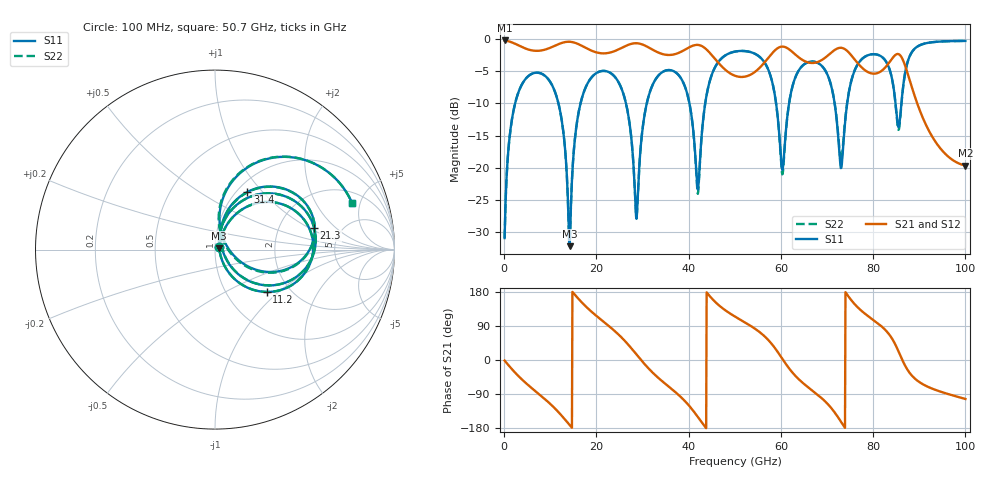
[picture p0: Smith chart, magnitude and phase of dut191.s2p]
! Touchstone file exported from HFSS 2026.1.0
!  File:  C:/ffzhzh/LocalFiles/Ansys_Project_Files/temp_test_TSV_RDL_191_1783478710_46308.aedt
!  Generated:  10:54:39 AM Jul  8, 2026
!  Design:  TSV_RDL
!  Project:  temp_test_TSV_RDL_191_1783478710_46308
! Variables:
!  h_bsmrdl = 2.48um
!  h_ox = 20um
!  h_rdl = 5um
!  h_sub = 62.75um
!  h_tmrdl = 3.57um
!  h_tsv = 62.75um
!  h_via = 3um
!  l_bsmrdl = 567.06um
!  l_sub = 4064.84um
!  l_tmrdl = 462.31um
!  m_sub = 200um
!  pitch = 50.83um
!  r_tsv = 12.92um
!  s_tmrdl = 10um
!  w_bsmrdl = 23.71um
!  w_sub = 500um
!  w_tmrdl = 14.43um
!  x_tsv_center1 = 469.525um
!  x_tsv_center2 = 1060.295um
!  x_tsv_center3 = 1537.035um
!  x_tsv_center4 = 2127.805um
!  x_tsv_center5 = 2604.545um
!  x_tsv_center6 = 3195.315um
# GHz S MA R 50.000000
! Terminal data exported
! Port[1] = TM_RDL1_1_T1
! Port[2] = TM_RDL5_1_T1
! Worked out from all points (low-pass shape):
!   1000 points, 100 MHz to 100 GHz, reference 50 ohm
!   highest |S21| = -0.21 dB at 100 MHz (marker M1); lowest = -19.7 dB at 100 GHz (marker M2)
!   |S21| within 3 dB of the highest: start of sweep to 45.87 GHz; 56.94 GHz to 64.6 GHz (7.665 GHz wide, 12.6 % of centre) (the widest 2 of 4)
!   lowest |S11| = -32.2 dB at 14.2 GHz (marker M3), VSWR 1.05, Z = 52.4 + j0.717 ohm
!   |S11| at or under -10 dB: 11.77 GHz to 16.56 GHz (4.788 GHz wide, 33.8 % of centre); 26.41 GHz to 30.92 GHz (4.51 GHz wide, 15.7 % of centre); 40.18 GHz to 43.59 GHz (3.412 GHz wide, 8.15 % of centre) (the widest 3 of 7)
!   |S22| runs from -32.2 to -0.3 dB; largest |S21 - S12| = 2.4e-13
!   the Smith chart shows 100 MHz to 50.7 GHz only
!   S11 on the Smith chart (normalised r, x): 100 MHz: 1.05, +0.03; 11.2 GHz: 1.53, -0.84; 21.3 GHz: 3.16, +1.13; 31.4 GHz: 1.11, +0.83; 50.7 GHz: 2.84, +4.22
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0.1  0.02836 32.7  0.9764 -1.5  0.9764 -1.5  0.02836 32.7
! Gamma 0 0 0 0
! Port Impedance 50 0 50 0
3.4  0.4111 40.1  0.8836 -46.0  0.8836 -46.0  0.4111 40.1
11.2  0.3728 -39.3  0.8949 -130.2  0.8949 -130.2  0.3728 -39.3
14.2  0.02452 16.2  0.9539 -171.5  0.9539 -171.5  0.02461 16.2
16.8  0.3418 57.7  0.8886 152.4  0.8886 152.4  0.3418 57.6
21.3  0.5657 12.4  0.7751 103.5  0.7751 103.5  0.5657 12.4
26.1  0.3501 -34.7  0.8767 51.3  0.8767 51.3  0.3503 -34.6
28.7  0.04001 17.9  0.929 14.5  0.929 14.5  0.04158 17.5
31.4  0.3684 60.7  0.8584 -23.5  0.8584 -23.5  0.3685 60.3
33.4  0.5188 40.3  0.7871 -46.9  0.7871 -46.9  0.5188 40.0
39.4  0.4076 -15.9  0.8355 -111.1  0.8355 -111.1  0.4072 -16.5
42.7  0.1564 80.6  0.8885 -162.1  0.8885 -162.1  0.1542 82.2
50.1  0.8008 22.6  0.518 114.2  0.518 114.2  0.8006 22.7
50.7  0.8067 18.7  0.511 109.9  0.511 109.9  0.8065 18.8
57.3  0.575 -31.1  0.7173 52.3  0.7173 52.3  0.5743 -31.5
60.3  0.09626 0.6  0.8749 3.4  0.8749 3.4  0.08865 0.5
66.7  0.6696 9.6  0.6522 -79.5  0.6522 -79.5  0.6694 10.4
73.7  0.183 61.1  0.8426 -175.4  0.8426 -175.4  0.1912 57.8
83.4  0.6044 -11.4  0.6511 68.7  0.6511 68.7  0.6034 -12.3
85.5  0.2059 16.9  0.7649 22.8  0.7649 22.8  0.1967 16.4
87.9  0.7337 41.9  0.4829 -33.8  0.4829 -33.8  0.7322 42.3
100  0.9679 -13.6  0.104 -102.8  0.104 -102.8  0.9679 -13.6
